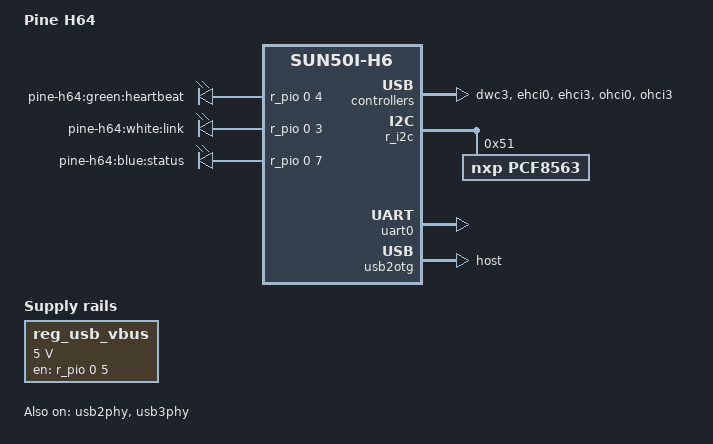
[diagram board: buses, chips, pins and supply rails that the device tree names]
// SPDX-License-Identifier: (GPL-2.0+ or MIT)
/*
 * Copyright (c) 2017 Icenowy Zheng <icenowy@aosc.io>
 */

/dts-v1/;

#include "sun50i-h6.dtsi"

#include <dt-bindings/gpio/gpio.h>

/ {
	model = "Pine H64";
	compatible = "pine64,pine-h64", "allwinner,sun50i-h6";

	aliases {
		serial0 = &uart0;
	};

	chosen {
		stdout-path = "serial0:115200n8";
	};

	leds {
		compatible = "gpio-leds";

		heartbeat {
			label = "pine-h64:green:heartbeat";
			gpios = <&r_pio 0 4 GPIO_ACTIVE_HIGH>; /* PL4 */
		};

		link {
			label = "pine-h64:white:link";
			gpios = <&r_pio 0 3 GPIO_ACTIVE_HIGH>; /* PL3 */
		};

		status {
			label = "pine-h64:blue:status";
			gpios = <&r_pio 0 7 GPIO_ACTIVE_HIGH>; /* PL7 */
		};
	};

	reg_usb_vbus: vbus {
		compatible = "regulator-fixed";
		regulator-name = "usb-vbus";
		regulator-min-microvolt = <5000000>;
		regulator-max-microvolt = <5000000>;
		startup-delay-us = <100000>;
		gpio = <&r_pio 0 5 GPIO_ACTIVE_HIGH>;
		enable-active-high;
	};
};

&dwc3 {
	status = "okay";
};

&ehci0 {
	status = "okay";
};

&ehci3 {
	status = "okay";
};

&ohci0 {
	status = "okay";
};

&ohci3 {
	status = "okay";
};

&r_i2c {
	status = "okay";

	pcf8563: rtc@51 {
		compatible = "nxp,pcf8563";
		reg = <0x51>;
		#clock-cells = <0>;
	};
};

&uart0 {
	pinctrl-names = "default";
	pinctrl-0 = <&uart0_ph_pins>;
	status = "okay";
};

&usb2otg {
	dr_mode = "host";
	status = "okay";
};

&usb2phy {
	usb0_vbus-supply = <&reg_usb_vbus>;
	usb3_vbus-supply = <&reg_usb_vbus>;
	status = "okay";
};

&usb3phy {
	phy-supply = <&reg_usb_vbus>;
	status = "okay";
};
